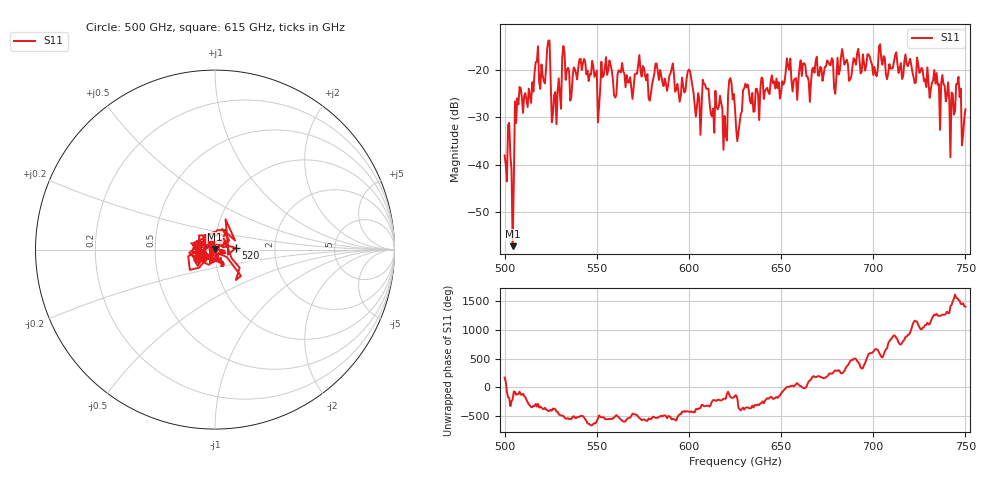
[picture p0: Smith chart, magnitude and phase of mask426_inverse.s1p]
!Created with skrf (http://scikit-rf.org).
# GHz S MA R 50.0
!freq magS11 angS11
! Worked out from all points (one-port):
!   401 points, 500 GHz to 750 GHz, reference 50 ohm
!   lowest |S11| = -57.3 dB at 504.4 GHz (marker M1), VSWR 1.00, Z = 49.9 + j0.0664 ohm
!   |S11| at or under -10 dB: start of sweep to end of sweep
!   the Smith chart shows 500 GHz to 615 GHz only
!   S11 on the Smith chart (normalised r, x): 500 GHz: 0.98, +0.00; 520 GHz: 1.26, +0.03; 615 GHz: 0.95, +0.06
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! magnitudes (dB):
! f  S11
! 500 GHz  -38.1
! 504.4 GHz  -57.3
! 508.1 GHz  -23.6
! 520 GHz  -18.8
! 523.8 GHz  -13.7
! 526.9 GHz  -25.3
! 531.2 GHz  -17.4
! 542.5 GHz  -18.5
! 550.6 GHz  -31.1
! 562.5 GHz  -20.3
! 590.6 GHz  -19.7
! 593.8 GHz  -22.9
! 600 GHz  -19.9
! 605 GHz  -24.9
! 608.8 GHz  -23.0
! 615 GHz  -27.8
! 619.4 GHz  -29.7
! 623.1 GHz  -22.8
! 625 GHz  -28.1
! 626.9 GHz  -33.1
! 630.6 GHz  -22.9
! 634.4 GHz  -24.8
! 656.2 GHz  -24.5
! 687.5 GHz  -22.0
! 718.8 GHz  -19.2
! 743.1 GHz  -25.0
! 746.2 GHz  -21.4
! 750 GHz  -28.3
